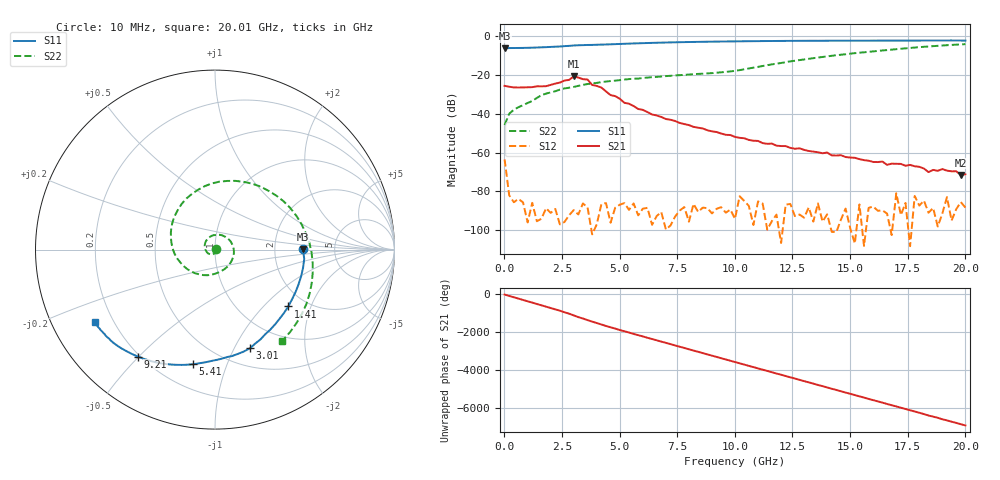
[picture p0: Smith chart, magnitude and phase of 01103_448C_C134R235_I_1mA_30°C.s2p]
!;Filter: kein Filter
!auto
!3/21/2019 9:26:39 AM
!3/21/2019 9:26:51 AM
!SP-Measurements Prober G4
!SP-Measurements Prober G4
!01103_448C
!134
!235
!12
!30
!-20
!0.00099996
!1.65
!0.05816927
!0.05816927
# Hz S  RI  R 50
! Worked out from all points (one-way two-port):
!   101 points, 10 MHz to 20.01 GHz, reference 50 ohm
!   highest |S21| = -20.66 dB at 3.01 GHz (marker M1); lowest = -71.6 dB at 19.81 GHz (marker M2)
!   lowest |S11| = -6.2 dB at 10 MHz (marker M3), VSWR 2.92, Z = 146 + j1.53 ohm
!   |S11| at or under -10 dB: nowhere
!   |S22| runs from -45.8 to -4.0 dB; largest |S21 - S12| = 0.093
!   S11 on the Smith chart (normalised r, x): 10 MHz: 2.92, +0.03; 1.41 GHz: 1.63, -1.41; 3.01 GHz: 0.70, -1.16; 5.41 GHz: 0.34, -0.76; 9.21 GHz: 0.19, -0.50; 20.01 GHz: 0.13, -0.27
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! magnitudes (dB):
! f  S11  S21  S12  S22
! 10 MHz  -6.2  -25.5  -63.5  -45.8
! 210 MHz  -6.0  -26.0  -82.1  -39.9
! 1.41 GHz  -5.7  -25.8  -95.5  -31.8
! 2.41 GHz  -5.2  -23.9  -97.1  -27.5
! 3.01 GHz  -4.7  -20.7  -89.7  -26.1
! 3.41 GHz  -4.5  -22.1  -86.3  -25.0
! 3.61 GHz  -4.4  -22.3  -88.3  -24.6
! 3.81 GHz  -4.4  -25.1  -102.3  -24.3
! 4.21 GHz  -4.2  -26.4  -86.7  -23.7
! 4.61 GHz  -4.1  -30.3  -96.2  -23.1
! 5.41 GHz  -3.7  -34.8  -89.6  -22.1
! 6.81 GHz  -3.2  -41.6  -90.7  -20.7
! 9.21 GHz  -2.7  -49.4  -89.1  -18.8
! 10.01 GHz  -2.6  -51.9  -94.2  -17.8
! 13.41 GHz  -2.3  -59.5  -95.7  -11.2
! 16.81 GHz  -2.2  -65.7  -102.6  -6.8
! 18.01 GHz  -2.1  -67.4  -87.4  -5.6
! 18.41 GHz  -2.1  -70.1  -91.1  -5.2
! 19.01 GHz  -2.1  -68.5  -91.5  -4.7
! 19.61 GHz  -2.1  -69.7  -89.3  -4.3
! 19.81 GHz  -2.1  -71.6  -85.6  -4.1
! 20.01 GHz  -2.2  -71.2  -88.4  -4.0
